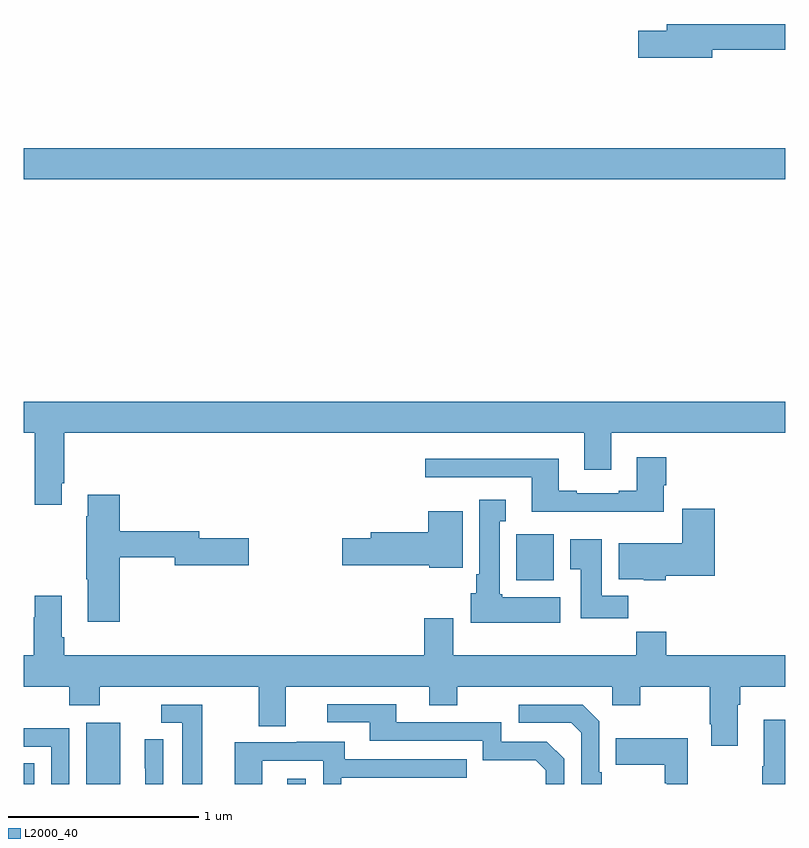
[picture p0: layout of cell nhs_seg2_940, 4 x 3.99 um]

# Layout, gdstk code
import gdstk
lib = gdstk.Library(unit=1e-6, precision=1e-09)
def R(c, l, rs):  # rectangles x0, y0, x1, y1
    for r in rs: c.add(gdstk.rectangle(r[:2], r[2:], *l))
def P(c, l, *ps):  # polygons
    for p in ps: c.add(gdstk.Polygon(p, *l))
L2000_40 = (2000, 40)

nhs_seg2_940 = lib.new_cell('nhs_seg2_940')
R(nhs_seg2_940, L2000_40, [(159,637.8,159.055,637.91), (159.329,637.8,159.508,638.122), (160.385,637.8,160.482,637.828), (161.588,638.87,161.785,639.112), (159,640.976,163,641.14)])
P(nhs_seg2_940, L2000_40, [(162.616,641.656),(163,641.656),(163,641.792),(162.377,641.792),(162.377,641.756),(162.228,641.756),(162.228,641.614),(162.616,641.614)],
  [(159,639.644),(159.059,639.644),(159.059,639.267),(159.199,639.267),(159.199,639.379),(159.212,639.379),(159.212,639.644),(161.945,639.644),(161.945,639.45),(162.085,639.45),(162.085,639.644),(163,639.644),(163,639.808),(159,639.808)],
  [(162.361,639.369),(162.374,639.369),(162.374,639.517),(162.221,639.517),(162.221,639.34),(162.125,639.34),(162.125,639.327),(161.905,639.327),(161.905,639.34),(161.809,639.34),(161.809,639.508),(161.109,639.508),(161.109,639.411),(161.669,639.411),(161.669,639.23),(162.361,639.23)],
  [(159.503,638.992),(159.794,638.992),(159.794,638.95),(160.183,638.95),(160.183,639.092),(159.922,639.092),(159.922,639.128),(159.503,639.128),(159.503,639.319),(159.335,639.319),(159.335,639.206),(159.328,639.206),(159.328,638.875),(159.335,638.875),(159.335,638.652),(159.503,638.652)],
  [(161.818,638.782),(161.514,638.782),(161.514,638.796),(161.5,638.796),(161.5,639.179),(161.533,639.179),(161.533,639.292),(161.393,639.292),(161.393,638.902),(161.378,638.902),(161.378,638.802),(161.348,638.802),(161.348,638.648),(161.818,638.648)],
  [(162.372,638.894),(162.629,638.894),(162.629,639.247),(162.458,639.247),(162.458,639.064),(162.125,639.064),(162.125,638.876),(162.258,638.876),(162.258,638.87),(162.372,638.87)],
  [(161.305,639.232),(161.126,639.232),(161.126,639.122),(160.823,639.122),(160.823,639.092),(160.674,639.092),(160.674,638.95),(161.13,638.95),(161.13,638.936),(161.305,638.936)],
  [(162.176,638.788),(162.037,638.788),(162.037,639.085),(161.87,639.085),(161.87,638.929),(161.927,638.929),(161.927,638.67),(162.176,638.67)],
  [(162.751,638.216),(162.764,638.216),(162.764,638.312),(163,638.312),(163,638.476),(162.374,638.476),(162.374,638.6),(162.217,638.6),(162.217,638.476),(161.257,638.476),(161.257,638.671),(161.105,638.671),(161.105,638.476),(159.212,638.476),(159.212,638.572),(159.199,638.572),(159.199,638.788),(159.059,638.788),(159.059,638.675),(159.052,638.675),(159.052,638.476),(159,638.476),(159,638.312),(159.239,638.312),(159.239,638.213),(159.399,638.213),(159.399,638.312),(160.235,638.312),(160.235,638.104),(160.375,638.104),(160.375,638.312),(161.129,638.312),(161.129,638.213),(161.277,638.213),(161.277,638.312),(162.09,638.312),(162.09,638.213),(162.237,638.213),(162.237,638.312),(162.604,638.312),(162.604,638.113),(162.611,638.113),(162.611,638.001),(162.751,638.001)],
  [(161.838,637.932),(161.748,638.022),(161.508,638.022),(161.508,638.124),(160.957,638.124),(160.957,638.22),(160.593,638.22),(160.593,638.124),(160.817,638.124),(160.817,638.028),(161.412,638.028),(161.412,637.925),(161.689,637.925),(161.742,637.872),(161.742,637.8),(161.838,637.8)],
  [(159.937,638.217),(159.723,638.217),(159.723,638.121),(159.833,638.121),(159.833,637.8),(159.937,637.8)],
  [(162.037,637.861),(162.024,637.861),(162.024,638.13),(161.937,638.217),(161.601,638.217),(161.601,638.121),(161.877,638.121),(161.928,638.07),(161.928,637.8),(162.037,637.8)],
  [(163,638.137),(162.887,638.137),(162.887,637.893),(162.88,637.893),(162.88,637.8),(163,637.8)],
  [(159.24,638.094),(159,638.094),(159,637.995),(159.144,637.995),(159.144,637.8),(159.24,637.8)],
  [(162.487,638.041),(162.109,638.041),(162.109,637.901),(162.366,637.901),(162.366,637.805),(162.378,637.805),(162.378,637.8),(162.487,637.8)],
  [(159.732,638.036),(159.636,638.036),(159.636,637.882),(159.638,637.882),(159.638,637.8),(159.732,637.8)],
  [(160.254,637.923),(160.572,637.923),(160.572,637.8),(160.668,637.8),(160.668,637.833),(161.327,637.833),(161.327,637.929),(160.687,637.929),(160.687,638.023),(160.433,638.023),(160.433,638.019),(160.109,638.019),(160.109,637.8),(160.254,637.8)])

lib.write_gds('nhs_seg2_940.gds')
